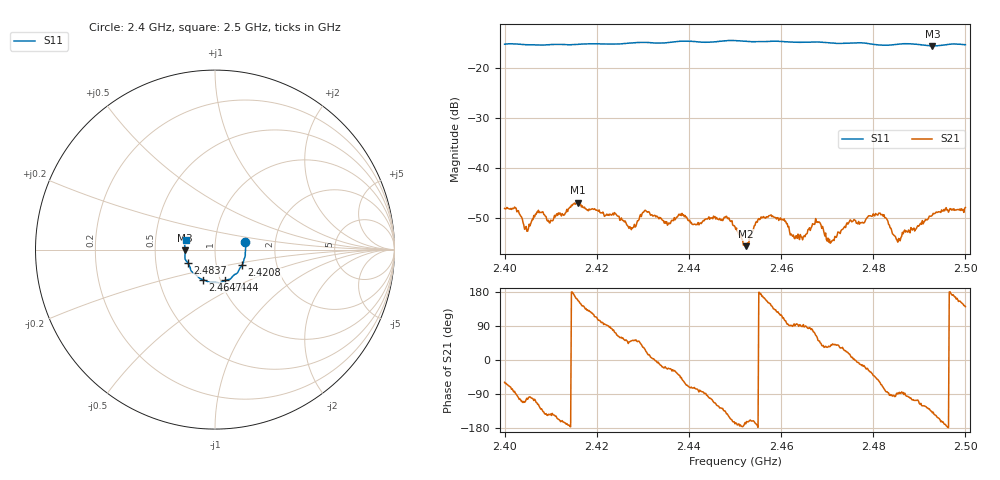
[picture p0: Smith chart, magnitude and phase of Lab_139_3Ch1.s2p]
# Hz S RI R 50
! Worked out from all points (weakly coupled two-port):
!   601 points, 2.4 GHz to 2.5 GHz, reference 50 ohm
!   highest |S21| = -46.88 dB at 2.4158 GHz (marker M1); lowest = -55.5 dB at 2.4523 GHz (marker M2)
!   lowest |S11| = -15.6 dB at 2.4928 GHz (marker M3), VSWR 1.40, Z = 35.8 - j0.348 ohm
!   |S11| at or under -10 dB: start of sweep to end of sweep
!   S12 and S22 are empty: the file has one direction only
!   S11 on the Smith chart (normalised r, x): 2.4 GHz: 1.40, +0.12; 2.4208 GHz: 1.33, -0.24; 2.444 GHz: 1.06, -0.37; 2.4647 GHz: 0.83, -0.29; 2.4837 GHz: 0.73, -0.11; 2.5 GHz: 0.72, +0.08
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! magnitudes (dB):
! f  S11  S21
! 2.4 GHz  -15.3  -48.0
! 2.4047 GHz  -15.4  -51.6
! 2.4072 GHz  -15.4  -48.8
! 2.4158 GHz  -15.3  -46.9
! 2.4167 GHz  -15.2  -47.7
! 2.4208 GHz  -15.2  -48.9
! 2.4273 GHz  -15.0  -51.8
! 2.4303 GHz  -14.9  -48.5
! 2.4333 GHz  -15.0  -49.8
! 2.444 GHz  -14.9  -50.1
! 2.45 GHz  -14.5  -51.7
! 2.4523 GHz  -14.7  -55.5
! 2.4573 GHz  -14.7  -49.5
! 2.4647 GHz  -14.9  -54.3
! 2.4667 GHz  -14.8  -51.6
! 2.4708 GHz  -15.0  -54.8
! 2.4753 GHz  -15.0  -50.7
! 2.4833 GHz  -15.4  -51.2
! 2.4837 GHz  -15.4  -51.9
! 2.4855 GHz  -15.2  -54.0
! 2.4928 GHz  -15.6  -49.3
! 2.5 GHz  -15.4  -47.8
